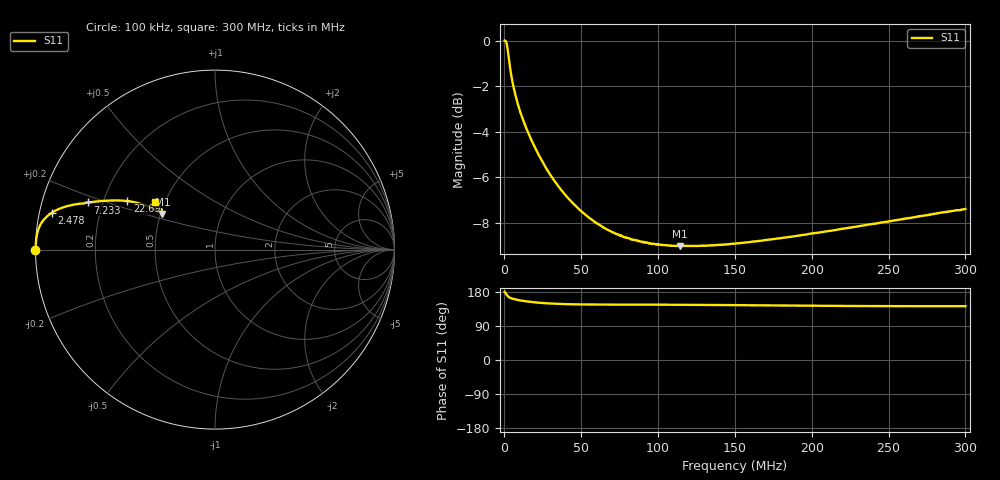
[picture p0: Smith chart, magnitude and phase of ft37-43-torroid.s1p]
# HZ S RI R 50
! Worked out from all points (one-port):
!   1010 points, 100 kHz to 300 MHz, reference 50 ohm
!   lowest |S11| = -9.0 dB at 114.2 MHz (marker M1), VSWR 2.10, Z = 25.6 + j11.6 ohm
!   |S11| at or under -10 dB: nowhere
!   S11 on the Smith chart (normalised r, x): 100 kHz: -0.00, +0.00; 2.478 MHz: 0.03, +0.11; 7.233 MHz: 0.14, +0.18; 22.69 MHz: 0.30, +0.24; 300 MHz: 0.44, +0.28
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100000  -1 0.000467
694400  -0.9961 0.0593
1288900  -0.983 0.1173
1883300  -0.9512 0.17
2477800  -0.9104 0.205
3369400  -0.8541 0.2325
4261100  -0.8093 0.2456
5747200  -0.7529 0.2557
7233400  -0.7096 0.263
8422300  -0.681 0.2658
9908400  -0.6499 0.2694
1.34751e7  -0.5911 0.2732
1.79335e7  -0.535 0.2737
2.26891e7  -0.4883 0.2706
2.98225e7  -0.4356 0.261
3.784752e7  -0.394 0.2488
4.616982e7  -0.3638 0.2373
5.419492e7  -0.3423 0.2273
6.548945e7  -0.3216 0.2153
7.529785e7  -0.3099 0.2081
9.521198e7  -0.2975 0.2001
1.127482e8  -0.293 0.1991
1.142343e8  -0.2928 0.1989
1.501986e8  -0.2929 0.2069
1.87649e8  -0.2989 0.2211
2.250993e8  -0.3089 0.2363
2.625496e8  -0.3216 0.2509
2.999999e8  -0.3369 0.2628
